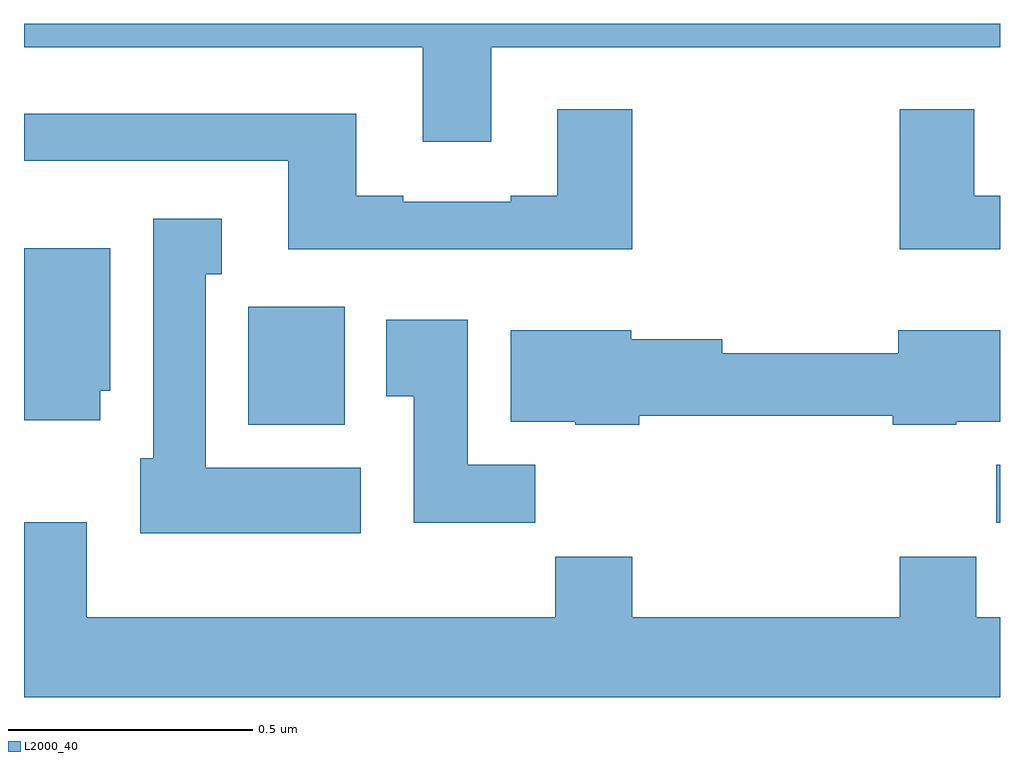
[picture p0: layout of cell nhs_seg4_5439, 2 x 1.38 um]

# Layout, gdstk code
import gdstk
lib = gdstk.Library(unit=1e-6, precision=1e-09)
def R(c, l, rs):  # rectangles x0, y0, x1, y1
    for r in rs: c.add(gdstk.rectangle(r[:2], r[2:], *l))
def P(c, l, *ps):  # polygons
    for p in ps: c.add(gdstk.Polygon(p, *l))
L2000_40 = (2000, 40)

nhs_seg4_5439 = lib.new_cell('nhs_seg4_5439')
R(nhs_seg4_5439, L2000_40, [(179.992,763.878,180,763.996), (178.46,764.078,178.657,764.32)])
P(nhs_seg4_5439, L2000_40, [(178.957,764.852),(180,764.852),(180,764.9),(178,764.9),(178,764.852),(178.817,764.852),(178.817,764.658),(178.957,764.658)],
  [(180,764.548),(179.947,764.548),(179.947,764.725),(179.795,764.725),(179.795,764.438),(180,764.438)],
  [(179.246,764.725),(179.093,764.725),(179.093,764.548),(178.997,764.548),(178.997,764.535),(178.777,764.535),(178.777,764.548),(178.681,764.548),(178.681,764.716),(178,764.716),(178,764.619),(178.541,764.619),(178.541,764.438),(179.246,764.438)],
  [(178.69,763.99),(178.372,763.99),(178.372,764.387),(178.405,764.387),(178.405,764.5),(178.265,764.5),(178.265,764.01),(178.238,764.01),(178.238,763.856),(178.69,763.856)],
  [(178.156,764.148),(178.177,764.148),(178.177,764.44),(178,764.44),(178,764.088),(178.156,764.088)],
  [(179.048,763.996),(178.909,763.996),(178.909,764.293),(178.742,764.293),(178.742,764.137),(178.799,764.137),(178.799,763.878),(179.048,763.878)],
  [(179.261,764.097),(179.78,764.097),(179.78,764.078),(179.91,764.078),(179.91,764.084),(180,764.084),(180,764.272),(179.792,764.272),(179.792,764.225),(179.431,764.225),(179.431,764.254),(179.244,764.254),(179.244,764.272),(178.997,764.272),(178.997,764.084),(179.13,764.084),(179.13,764.078),(179.261,764.078)],
  [(180,763.684),(179.951,763.684),(179.951,763.808),(179.795,763.808),(179.795,763.684),(179.246,763.684),(179.246,763.808),(179.089,763.808),(179.089,763.684),(178.129,763.684),(178.129,763.879),(178,763.879),(178,763.52),(180,763.52)])

lib.write_gds('nhs_seg4_5439.gds')
